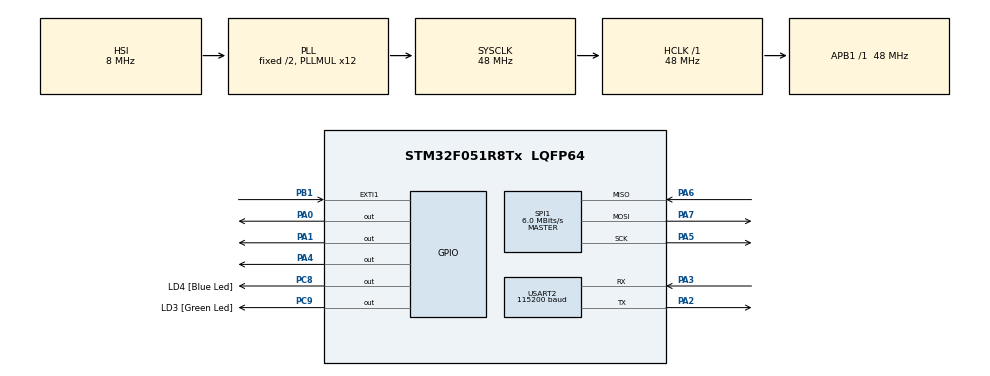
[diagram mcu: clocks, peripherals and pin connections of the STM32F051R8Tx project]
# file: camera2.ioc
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FATFS._MAX_SS=4096
FATFS._USE_LFN=1
Mcu.Family=STM32F0
Mcu.Name=STM32F051R8Tx
Mcu.Package=LQFP64
NVIC.EXTI0_1_IRQn=true\:0\:0\:false\:false\:true\:true\:true\:true
NVIC.USART2_IRQn=true\:0\:0\:false\:false\:true\:true\:true\:true
PA0.Signal=GPIO_Output
PA1.Signal=GPIO_Output
PA13.GPIO_Label=SWDIO
PA13.Mode=Serial_Wire
PA13.Signal=SYS_SWDIO
PA14.GPIO_Label=SWCLK
PA14.Mode=Serial_Wire
PA14.Signal=SYS_SWCLK
PA2.Mode=Asynchronous
PA2.Signal=USART2_TX
PA3.Mode=Asynchronous
PA3.Signal=USART2_RX
PA4.Signal=GPIO_Output
PA5.Mode=Full_Duplex_Master
PA5.Signal=SPI1_SCK
PA6.Mode=Full_Duplex_Master
PA6.Signal=SPI1_MISO
PA7.Mode=Full_Duplex_Master
PA7.Signal=SPI1_MOSI
PB1.GPIO_PuPd=GPIO_PULLUP
PB1.Signal=GPXTI1
PC8.GPIO_Label=LD4 [Blue Led]
PC8.Signal=GPIO_Output
PC9.GPIO_Label=LD3 [Green Led]
PC9.Signal=GPIO_Output
ProjectManager.HeapSize=0x200
ProjectManager.StackSize=0x400
ProjectManager.TargetToolchain=STM32CubeIDE
RCC.AHBFreq_Value=48000000
RCC.APB1Freq_Value=48000000
RCC.APB1TimFreq_Value=48000000
RCC.HCLKFreq_Value=48000000
RCC.PLLMUL=RCC_PLL_MUL12
RCC.SYSCLKFreq_VALUE=48000000
RCC.SYSCLKSource=RCC_SYSCLKSOURCE_PLLCLK
SPI1.BaudRatePrescaler=SPI_BAUDRATEPRESCALER_8
SPI1.CalculateBaudRate=6.0 MBits/s
SPI1.DataSize=SPI_DATASIZE_8BIT
SPI1.Direction=SPI_DIRECTION_2LINES
SPI1.Mode=SPI_MODE_MASTER
SPI1.VirtualType=VM_MASTER
USART2.BaudRate=115200
USART2.VirtualMode-Asynchronous=VM_ASYNC
VP_FATFS_VS_Generic.Mode=User_defined
board=STM32F0DISCOVERY

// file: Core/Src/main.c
/* USER CODE BEGIN Header */
/**
  ******************************************************************************
  * @file           : main.c
  * @brief          : Main program body
  ******************************************************************************
  * @attention
  *
  * Copyright (c) 2023 STMicroelectronics.
  * All rights reserved.
  *
  * This software is licensed under terms that can be found in the LICENSE file
  * in the root directory of this software component.
  * If no LICENSE file comes with this software, it is provided AS-IS.
  *
  ******************************************************************************
  */
/* USER CODE END Header */
#include "main.h"
#include "fatfs.h"

/* USER CODE BEGIN PD */
//FATFS fs;
//FIL fil;
/* USER CODE END PD */

SPI_HandleTypeDef hspi1;

UART_HandleTypeDef huart2;

/* USER CODE BEGIN PV */
uint32_t previousMillis = 0;
uint32_t currentMillis = 0;

/* USER CODE END PV */

void SystemClock_Config(void);
static void MX_GPIO_Init(void);
static void MX_USART2_UART_Init(void);
static void MX_SPI1_Init(void);

/* USER CODE BEGIN 0 */
uint8_t tx_buffer[2000];
uint8_t count =0;
uint8_t rx_buffer[2000];
void HAL_UART_TxCpltCallback(UART_HandleTypeDef *huart)
{
   // do nothing here
}
/* USER CODE END 0 */

int main(void)
{
  /* USER CODE BEGIN 1 */
	if (HAL_UART_Receive(&huart2, rx_buffer, sizeof(rx_buffer), 100) == HAL_OK) {
			               // Data received, process it as needed
			               rx_buffer[sizeof(rx_buffer) - 1] = '\0';  // Null-terminate the received data
			               printf("Received data: %s\n", rx_buffer);
			               // Clear the buffer for the next reception
			               memset(rx_buffer, 0, sizeof(rx_buffer));

	}
	count++;

  /* USER CODE END 1 */

  /* MCU Configuration--------------------------------------------------------*/

  /* Reset of all peripherals, Initializes the Flash interface and the Systick. */
  HAL_Init();

  /* Configure the system clock */
  SystemClock_Config();

  /* Initialize all configured peripherals */
  MX_GPIO_Init();
  MX_USART2_UART_Init();
  //MX_FATFS_Init();
  MX_SPI1_Init();
  /* USER CODE BEGIN 2 */
  /* Wait for SD module reset */

//  	   f_mount(&fs, "", 0);
//  	   f_open(&fil, "metadata.txt", FA_OPEN_ALWAYS | FA_WRITE | FA_READ);
//  	   f_lseek(&fil, fil.fsize);
//  	   f_puts((char*)rx_buffer, &fil);
//  	   f_close(&fil);

  /* USER CODE END 2 */

  /* Infinite loop */
  while (1)
  {

  }
}

void SystemClock_Config(void)
{
  RCC_OscInitTypeDef RCC_OscInitStruct = {0};
  RCC_ClkInitTypeDef RCC_ClkInitStruct = {0};

  /** Initializes the RCC Oscillators according to the specified parameters
  * in the RCC_OscInitTypeDef structure.
  */
  RCC_OscInitStruct.OscillatorType = RCC_OSCILLATORTYPE_HSI;
  RCC_OscInitStruct.HSIState = RCC_HSI_ON;
  RCC_OscInitStruct.HSICalibrationValue = RCC_HSICALIBRATION_DEFAULT;
  RCC_OscInitStruct.PLL.PLLState = RCC_PLL_ON;
  RCC_OscInitStruct.PLL.PLLSource = RCC_PLLSOURCE_HSI;
  RCC_OscInitStruct.PLL.PLLMUL = RCC_PLL_MUL12;
  RCC_OscInitStruct.PLL.PREDIV = RCC_PREDIV_DIV1;
  if (HAL_RCC_OscConfig(&RCC_OscInitStruct) != HAL_OK)
  {
    Error_Handler();
  }

  /** Initializes the CPU, AHB and APB buses clocks
  */
  RCC_ClkInitStruct.ClockType = RCC_CLOCKTYPE_HCLK|RCC_CLOCKTYPE_SYSCLK
                              |RCC_CLOCKTYPE_PCLK1;
  RCC_ClkInitStruct.SYSCLKSource = RCC_SYSCLKSOURCE_PLLCLK;
  RCC_ClkInitStruct.AHBCLKDivider = RCC_SYSCLK_DIV1;
  RCC_ClkInitStruct.APB1CLKDivider = RCC_HCLK_DIV1;

  if (HAL_RCC_ClockConfig(&RCC_ClkInitStruct, FLASH_LATENCY_1) != HAL_OK)
  {
    Error_Handler();
  }
}

static void MX_SPI1_Init(void)
{

  /* SPI1 parameter configuration*/
  hspi1.Instance = SPI1;
  hspi1.Init.Mode = SPI_MODE_MASTER;
  hspi1.Init.Direction = SPI_DIRECTION_2LINES;
  hspi1.Init.DataSize = SPI_DATASIZE_8BIT;
  hspi1.Init.CLKPolarity = SPI_POLARITY_LOW;
  hspi1.Init.CLKPhase = SPI_PHASE_1EDGE;
  hspi1.Init.NSS = SPI_NSS_SOFT;
  hspi1.Init.BaudRatePrescaler = SPI_BAUDRATEPRESCALER_8;
  hspi1.Init.FirstBit = SPI_FIRSTBIT_MSB;
  hspi1.Init.TIMode = SPI_TIMODE_DISABLE;
  hspi1.Init.CRCCalculation = SPI_CRCCALCULATION_DISABLE;
  hspi1.Init.CRCPolynomial = 7;
  hspi1.Init.CRCLength = SPI_CRC_LENGTH_DATASIZE;
  hspi1.Init.NSSPMode = SPI_NSS_PULSE_ENABLE;
  if (HAL_SPI_Init(&hspi1) != HAL_OK)
  {
    Error_Handler();
  }

}

static void MX_USART2_UART_Init(void)
{

  huart2.Instance = USART2;
  huart2.Init.BaudRate = 115200;
  huart2.Init.WordLength = UART_WORDLENGTH_8B;
  huart2.Init.StopBits = UART_STOPBITS_1;
  huart2.Init.Parity = UART_PARITY_NONE;
  huart2.Init.Mode = UART_MODE_TX_RX;
  huart2.Init.HwFlowCtl = UART_HWCONTROL_NONE;
  huart2.Init.OverSampling = UART_OVERSAMPLING_16;
  huart2.Init.OneBitSampling = UART_ONE_BIT_SAMPLE_DISABLE;
  huart2.AdvancedInit.AdvFeatureInit = UART_ADVFEATURE_NO_INIT;
  if (HAL_UART_Init(&huart2) != HAL_OK)
  {
    Error_Handler();
  }

}

static void MX_GPIO_Init(void)
{
  GPIO_InitTypeDef GPIO_InitStruct = {0};

  /* GPIO Ports Clock Enable */
  __HAL_RCC_GPIOA_CLK_ENABLE();
  __HAL_RCC_GPIOB_CLK_ENABLE();
  __HAL_RCC_GPIOC_CLK_ENABLE();

  /*Configure GPIO pin Output Level */
  HAL_GPIO_WritePin(GPIOA, GPIO_PIN_0|GPIO_PIN_1|GPIO_PIN_4, GPIO_PIN_RESET);

  /*Configure GPIO pin Output Level */
  HAL_GPIO_WritePin(GPIOC, LD4_Pin|LD3_Pin, GPIO_PIN_RESET);

  /*Configure GPIO pins : PA0 PA1 PA4 */
  GPIO_InitStruct.Pin = GPIO_PIN_0|GPIO_PIN_1|GPIO_PIN_4;
  GPIO_InitStruct.Mode = GPIO_MODE_OUTPUT_PP;
  GPIO_InitStruct.Pull = GPIO_NOPULL;
  GPIO_InitStruct.Speed = GPIO_SPEED_FREQ_LOW;
  HAL_GPIO_Init(GPIOA, &GPIO_InitStruct);

  /*Configure GPIO pin : PB1 */
  GPIO_InitStruct.Pin = GPIO_PIN_1;
  GPIO_InitStruct.Mode = GPIO_MODE_IT_RISING;
  GPIO_InitStruct.Pull = GPIO_PULLUP;
  HAL_GPIO_Init(GPIOB, &GPIO_InitStruct);

  /*Configure GPIO pins : LD4_Pin LD3_Pin */
  GPIO_InitStruct.Pin = LD4_Pin|LD3_Pin;
  GPIO_InitStruct.Mode = GPIO_MODE_OUTPUT_PP;
  GPIO_InitStruct.Pull = GPIO_NOPULL;
  GPIO_InitStruct.Speed = GPIO_SPEED_FREQ_LOW;
  HAL_GPIO_Init(GPIOC, &GPIO_InitStruct);

  /* EXTI interrupt init*/
  HAL_NVIC_SetPriority(EXTI0_1_IRQn, 0, 0);
  HAL_NVIC_EnableIRQ(EXTI0_1_IRQn);

}

/* USER CODE BEGIN 4 */
void HAL_GPIO_EXTI_Callback(uint16_t GPIO_Pin)
{

  currentMillis = HAL_GetTick();
  if (GPIO_Pin == GPIO_PIN_1 && (currentMillis - previousMillis > 10))
  {
	  if(HAL_GPIO_ReadPin(GPIOA, GPIO_PIN_1) == GPIO_PIN_RESET)
	   {
		  HAL_GPIO_WritePin(GPIOA, GPIO_PIN_1, GPIO_PIN_SET);
		  HAL_GPIO_WritePin(GPIOA, GPIO_PIN_0, GPIO_PIN_RESET);
	   }
	   else
	   {
		   HAL_GPIO_WritePin(GPIOA, GPIO_PIN_1, GPIO_PIN_RESET);
		   HAL_GPIO_WritePin(GPIOA, GPIO_PIN_0, GPIO_PIN_SET);
	   }

//    if(strcmp((char*)rx_buffer, "0") == 0){
//    	tx_buffer[sizeof(tx_buffer) - 1] = "1" ;
//    }else {
//    	tx_buffer[sizeof(tx_buffer) - 1] = "0" ;
//    }
//
//    HAL_UART_Transmit_IT(&huart2, tx_buffer, sizeof(tx_buffer));
}
    previousMillis = currentMillis;

}
/* USER CODE END 4 */

void Error_Handler(void)
{
  __disable_irq();
  while (1)
  {
  }
}
